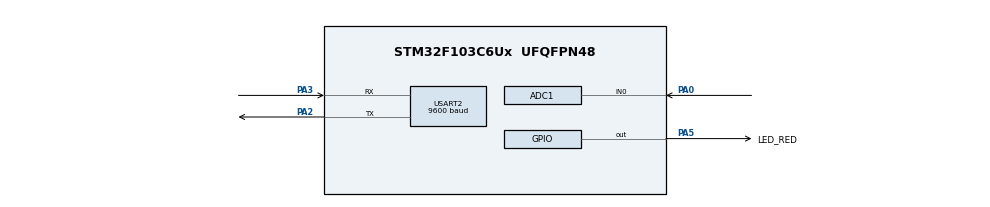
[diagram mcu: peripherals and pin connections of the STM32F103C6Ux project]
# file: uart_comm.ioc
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ADC1.Channel-0\#ChannelRegularConversion=ADC_CHANNEL_0
ADC1.ContinuousConvMode=ENABLE
ADC1.NbrOfConversionFlag=1
ADC1.Rank-0\#ChannelRegularConversion=1
ADC1.SamplingTime-0\#ChannelRegularConversion=ADC_SAMPLETIME_1CYCLE_5
ADC1.master=1
Mcu.Family=STM32F1
Mcu.Name=STM32F103C6Ux
Mcu.Package=UFQFPN48
NVIC.PriorityGroup=NVIC_PRIORITYGROUP_4
NVIC.TIM2_IRQn=true\:0\:0\:false\:false\:true\:true\:true
NVIC.USART2_IRQn=true\:0\:0\:false\:false\:true\:true\:true
PA0-WKUP.Signal=ADCx_IN0
PA2.Mode=Asynchronous
PA2.Signal=USART2_TX
PA3.Mode=Asynchronous
PA3.Signal=USART2_RX
PA5.GPIO_Label=LED_RED
PA5.Signal=GPIO_Output
PA6.Signal=S_TIM3_CH1
ProjectManager.HeapSize=0x200
ProjectManager.StackSize=0x400
ProjectManager.TargetToolchain=STM32CubeIDE
RCC.APB1Freq_Value=8000000
RCC.APB2Freq_Value=8000000
SH.ADCx_IN0.0=ADC1_IN0,IN0
SH.S_TIM3_CH1.0=TIM3_CH1
TIM2.Period=9
TIM2.Prescaler=7999
USART2.BaudRate=9600
USART2.VirtualMode=VM_ASYNC
VP_SYS_VS_ND.Mode=No_Debug
VP_TIM2_VS_ClockSourceINT.Mode=Internal
board=custom

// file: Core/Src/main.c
/* USER CODE BEGIN Header */
/**
  ******************************************************************************
  * @file           : main.c
  * @brief          : Main program body
  ******************************************************************************
  * @attention
  *
  * <h2><center>&copy; Copyright (c) 2022 STMicroelectronics.
  * All rights reserved.</center></h2>
  *
  * This software component is licensed by ST under BSD 3-Clause license,
  * the "License"; You may not use this file except in compliance with the
  * License. You may obtain a copy of the License at:
  *                        opensource.org/licenses/BSD-3-Clause
  *
  ******************************************************************************
  */
/* USER CODE END Header */
#include "main.h"

/* USER CODE BEGIN Includes */
#include <stdio.h>
#include <stdint.h>
#include "global.h"
#include "fsm_cmd.h"
#include "fsm_comm.h"
/* USER CODE END Includes */

ADC_HandleTypeDef hadc1;

TIM_HandleTypeDef htim2;

UART_HandleTypeDef huart2;

void SystemClock_Config(void);
static void MX_GPIO_Init(void);
static void MX_ADC1_Init(void);
static void MX_USART2_UART_Init(void);
static void MX_TIM2_Init(void);

/* USER CODE BEGIN 0 */
//char temp;
//char buffer[10];
//uint8_t index_buffer = 0, buffer_flag = 0;

void HAL_UART_RxCpltCallback(UART_HandleTypeDef *huart) {
	if (huart->Instance == USART2) {
		uart_receive_char();
	}
}
/* USER CODE END 0 */

int main(void)
{

  /* MCU Configuration--------------------------------------------------------*/

  /* Reset of all peripherals, Initializes the Flash interface and the Systick. */
  HAL_Init();

  /* Configure the system clock */
  SystemClock_Config();

  /* Initialize all configured peripherals */
  MX_GPIO_Init();
  MX_ADC1_Init();
  MX_USART2_UART_Init();
  MX_TIM2_Init();
  /* USER CODE BEGIN 2 */
  HAL_TIM_Base_Start_IT(&htim2);
  HAL_ADC_Start(&hadc1);
  uart_init();
  adc_init();
  cmd_init();
  comm_init();
  timer_setDuration(TIMER_LED, 1000);
  /* USER CODE END 2 */

  /* Infinite loop */
  /* USER CODE BEGIN WHILE */

  char str[50];
  HAL_UART_Transmit(&huart2, (uint8_t *)str, sprintf(str, "%s", "Type Command:\r\n"), 1000);
  while (1)
  {
    /* USER CODE END WHILE */

    /* USER CODE BEGIN 3 */
	  if (timer_checkFlag(TIMER_LED)) {
		  HAL_GPIO_TogglePin(GPIOA, LED_RED_Pin);
		  timer_setDuration(TIMER_LED, 1000);
	  }
	  if (uart_check_flag()) {
		  cmd_parser_fsm();
	  }
	  comm_uart_fsm();
  }
  /* USER CODE END 3 */
}

void SystemClock_Config(void)
{
  RCC_OscInitTypeDef RCC_OscInitStruct = {0};
  RCC_ClkInitTypeDef RCC_ClkInitStruct = {0};
  RCC_PeriphCLKInitTypeDef PeriphClkInit = {0};

  /** Initializes the RCC Oscillators according to the specified parameters
  * in the RCC_OscInitTypeDef structure.
  */
  RCC_OscInitStruct.OscillatorType = RCC_OSCILLATORTYPE_HSI;
  RCC_OscInitStruct.HSIState = RCC_HSI_ON;
  RCC_OscInitStruct.HSICalibrationValue = RCC_HSICALIBRATION_DEFAULT;
  RCC_OscInitStruct.PLL.PLLState = RCC_PLL_NONE;
  if (HAL_RCC_OscConfig(&RCC_OscInitStruct) != HAL_OK)
  {
    Error_Handler();
  }
  /** Initializes the CPU, AHB and APB buses clocks
  */
  RCC_ClkInitStruct.ClockType = RCC_CLOCKTYPE_HCLK|RCC_CLOCKTYPE_SYSCLK
                              |RCC_CLOCKTYPE_PCLK1|RCC_CLOCKTYPE_PCLK2;
  RCC_ClkInitStruct.SYSCLKSource = RCC_SYSCLKSOURCE_HSI;
  RCC_ClkInitStruct.AHBCLKDivider = RCC_SYSCLK_DIV1;
  RCC_ClkInitStruct.APB1CLKDivider = RCC_HCLK_DIV1;
  RCC_ClkInitStruct.APB2CLKDivider = RCC_HCLK_DIV1;

  if (HAL_RCC_ClockConfig(&RCC_ClkInitStruct, FLASH_LATENCY_0) != HAL_OK)
  {
    Error_Handler();
  }
  PeriphClkInit.PeriphClockSelection = RCC_PERIPHCLK_ADC;
  PeriphClkInit.AdcClockSelection = RCC_ADCPCLK2_DIV2;
  if (HAL_RCCEx_PeriphCLKConfig(&PeriphClkInit) != HAL_OK)
  {
    Error_Handler();
  }
}

static void MX_ADC1_Init(void)
{

  ADC_ChannelConfTypeDef sConfig = {0};

  /** Common config
  */
  hadc1.Instance = ADC1;
  hadc1.Init.ScanConvMode = ADC_SCAN_DISABLE;
  hadc1.Init.ContinuousConvMode = ENABLE;
  hadc1.Init.DiscontinuousConvMode = DISABLE;
  hadc1.Init.ExternalTrigConv = ADC_SOFTWARE_START;
  hadc1.Init.DataAlign = ADC_DATAALIGN_RIGHT;
  hadc1.Init.NbrOfConversion = 1;
  if (HAL_ADC_Init(&hadc1) != HAL_OK)
  {
    Error_Handler();
  }
  /** Configure Regular Channel
  */
  sConfig.Channel = ADC_CHANNEL_0;
  sConfig.Rank = ADC_REGULAR_RANK_1;
  sConfig.SamplingTime = ADC_SAMPLETIME_1CYCLE_5;
  if (HAL_ADC_ConfigChannel(&hadc1, &sConfig) != HAL_OK)
  {
    Error_Handler();
  }

}

static void MX_TIM2_Init(void)
{

  TIM_ClockConfigTypeDef sClockSourceConfig = {0};
  TIM_MasterConfigTypeDef sMasterConfig = {0};

  htim2.Instance = TIM2;
  htim2.Init.Prescaler = 7999;
  htim2.Init.CounterMode = TIM_COUNTERMODE_UP;
  htim2.Init.Period = 9;
  htim2.Init.ClockDivision = TIM_CLOCKDIVISION_DIV1;
  htim2.Init.AutoReloadPreload = TIM_AUTORELOAD_PRELOAD_DISABLE;
  if (HAL_TIM_Base_Init(&htim2) != HAL_OK)
  {
    Error_Handler();
  }
  sClockSourceConfig.ClockSource = TIM_CLOCKSOURCE_INTERNAL;
  if (HAL_TIM_ConfigClockSource(&htim2, &sClockSourceConfig) != HAL_OK)
  {
    Error_Handler();
  }
  sMasterConfig.MasterOutputTrigger = TIM_TRGO_RESET;
  sMasterConfig.MasterSlaveMode = TIM_MASTERSLAVEMODE_DISABLE;
  if (HAL_TIMEx_MasterConfigSynchronization(&htim2, &sMasterConfig) != HAL_OK)
  {
    Error_Handler();
  }

}

static void MX_USART2_UART_Init(void)
{

  huart2.Instance = USART2;
  huart2.Init.BaudRate = 9600;
  huart2.Init.WordLength = UART_WORDLENGTH_8B;
  huart2.Init.StopBits = UART_STOPBITS_1;
  huart2.Init.Parity = UART_PARITY_NONE;
  huart2.Init.Mode = UART_MODE_TX_RX;
  huart2.Init.HwFlowCtl = UART_HWCONTROL_NONE;
  huart2.Init.OverSampling = UART_OVERSAMPLING_16;
  if (HAL_UART_Init(&huart2) != HAL_OK)
  {
    Error_Handler();
  }

}

static void MX_GPIO_Init(void)
{
  GPIO_InitTypeDef GPIO_InitStruct = {0};

  /* GPIO Ports Clock Enable */
  __HAL_RCC_GPIOA_CLK_ENABLE();

  /*Configure GPIO pin Output Level */
  HAL_GPIO_WritePin(LED_RED_GPIO_Port, LED_RED_Pin, GPIO_PIN_SET);

  /*Configure GPIO pin : LED_RED_Pin */
  GPIO_InitStruct.Pin = LED_RED_Pin;
  GPIO_InitStruct.Mode = GPIO_MODE_OUTPUT_PP;
  GPIO_InitStruct.Pull = GPIO_NOPULL;
  GPIO_InitStruct.Speed = GPIO_SPEED_FREQ_LOW;
  HAL_GPIO_Init(LED_RED_GPIO_Port, &GPIO_InitStruct);

  /*Configure GPIO pin : PA6 */
  GPIO_InitStruct.Pin = GPIO_PIN_6;
  GPIO_InitStruct.Mode = GPIO_MODE_AF_PP;
  GPIO_InitStruct.Speed = GPIO_SPEED_FREQ_LOW;
  HAL_GPIO_Init(GPIOA, &GPIO_InitStruct);

}

/* USER CODE BEGIN 4 */
void HAL_TIM_PeriodElapsedCallback(TIM_HandleTypeDef *htim) {
	adc_read_data();
	timer_run();
}
/* USER CODE END 4 */

void Error_Handler(void)
{
  __disable_irq();
  while (1)
  {
  }
}

/************************ (C) COPYRIGHT STMicroelectronics *****END OF FILE****/
